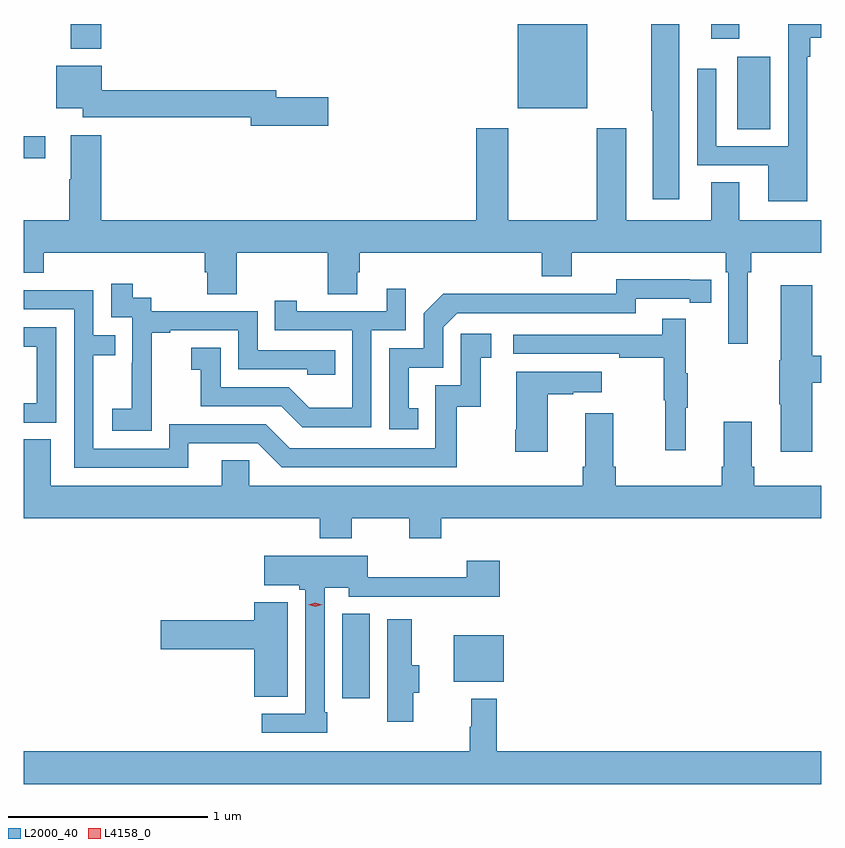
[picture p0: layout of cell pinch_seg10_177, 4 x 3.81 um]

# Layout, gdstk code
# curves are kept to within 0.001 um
import gdstk
lib = gdstk.Library(unit=1e-6, precision=1e-09)
def R(c, l, rs):  # rectangles x0, y0, x1, y1
    for r in rs: c.add(gdstk.rectangle(r[:2], r[2:], *l))
def P(c, l, *ps):  # polygons
    for p in ps: c.add(gdstk.Polygon(p, *l))
L2000_40 = (2000, 40)
L4158_0 = (4158, 0)

pinch_seg10_177 = lib.new_cell('pinch_seg10_177')
R(pinch_seg10_177, L2000_40, [(701.267,1258.122,701.404,1258.547), (701.825,1258.205,702.076,1258.438), (699.669,1260.831,699.778,1260.941), (703.247,1260.976,703.414,1261.339), (702.146,1261.082,702.496,1261.504), (699.905,1261.379,700.058,1261.504), (703.118,1261.431,703.258,1261.504)])
P(pinch_seg10_177, L2000_40, [(703.599,1261.34),(703.615,1261.34),(703.615,1261.436),(703.669,1261.436),(703.669,1261.504),(703.503,1261.504),(703.503,1260.891),(703.143,1260.891),(703.143,1261.279),(703.047,1261.279),(703.047,1260.795),(703.403,1260.795),(703.403,1260.614),(703.599,1260.614)],
  [(702.958,1261.504),(702.817,1261.504),(702.817,1261.069),(702.824,1261.069),(702.824,1260.624),(702.958,1260.624)],
  [(701.197,1261.136),(700.936,1261.136),(700.936,1261.172),(700.06,1261.172),(700.06,1261.294),(699.833,1261.294),(699.833,1261.082),(699.966,1261.082),(699.966,1261.036),(700.808,1261.036),(700.808,1260.994),(701.197,1260.994)],
  [(703.3,1260.26),(703.319,1260.26),(703.319,1260.356),(703.669,1260.356),(703.669,1260.52),(703.258,1260.52),(703.258,1260.71),(703.118,1260.71),(703.118,1260.52),(702.691,1260.52),(702.691,1260.982),(702.544,1260.982),(702.544,1260.52),(702.099,1260.52),(702.099,1260.982),(701.939,1260.982),(701.939,1260.52),(700.058,1260.52),(700.058,1260.946),(699.905,1260.946),(699.905,1260.725),(699.898,1260.725),(699.898,1260.52),(699.669,1260.52),(699.669,1260.257),(699.77,1260.257),(699.77,1260.356),(700.577,1260.356),(700.577,1260.258),(700.589,1260.258),(700.589,1260.148),(700.737,1260.148),(700.737,1260.356),(701.194,1260.356),(701.194,1260.148),(701.341,1260.148),(701.341,1260.258),(701.354,1260.258),(701.354,1260.356),(702.266,1260.356),(702.266,1260.239),(702.418,1260.239),(702.418,1260.356),(703.19,1260.356),(703.19,1260.26),(703.203,1260.26),(703.203,1259.901),(703.3,1259.901)],
  [(701.648,1259.577),(701.599,1259.577),(701.599,1259.781),(701.772,1259.781),(701.772,1259.982),(701.844,1260.054),(702.738,1260.054),(702.738,1260.126),(703.01,1260.126),(703.01,1260.106),(703.118,1260.106),(703.118,1260.222),(702.642,1260.223),(702.642,1260.15),(702.182,1260.15),(702.182,1260.152),(701.774,1260.152),(701.676,1260.054),(701.676,1259.877),(701.502,1259.877),(701.502,1259.472),(701.648,1259.472)],
  [(700.311,1259.671),(700.31,1259.671),(700.31,1259.955),(700.405,1259.955),(700.405,1259.967),(700.746,1259.967),(700.746,1259.772),(701.091,1259.772),(701.091,1259.745),(701.231,1259.745),(701.231,1259.868),(700.842,1259.868),(700.842,1260.063),(700.308,1260.063),(700.308,1260.132),(700.216,1260.132),(700.216,1260.202),(700.107,1260.202),(700.107,1260.033),(700.212,1260.033),(700.212,1259.804),(700.211,1259.804),(700.211,1259.575),(700.113,1259.575),(700.113,1259.465),(700.311,1259.465)],
  [(703.625,1259.704),(703.669,1259.704),(703.669,1259.84),(703.625,1259.84),(703.625,1260.193),(703.466,1260.193),(703.466,1259.817),(703.459,1259.817),(703.459,1259.596),(703.466,1259.596),(703.466,1259.358),(703.625,1259.358)],
  [(701.412,1259.967),(701.586,1259.967),(701.586,1260.175),(701.489,1260.175),(701.489,1260.063),(701.038,1260.063),(701.038,1260.115),(700.927,1260.115),(700.927,1259.967),(701.316,1259.967),(701.316,1259.578),(701.102,1259.578),(700.998,1259.682),(700.656,1259.682),(700.656,1259.881),(700.509,1259.881),(700.509,1259.771),(700.558,1259.771),(700.558,1259.586),(700.961,1259.586),(701.066,1259.481),(701.412,1259.481)],
  [(700.495,1259.4),(700.842,1259.4),(700.962,1259.28),(701.842,1259.28),(701.842,1259.583),(701.96,1259.583),(701.96,1259.829),(702.013,1259.829),(702.013,1259.95),(701.862,1259.95),(701.862,1259.691),(701.733,1259.691),(701.733,1259.376),(701.004,1259.376),(700.884,1259.496),(700.398,1259.496),(700.398,1259.373),(700.017,1259.373),(700.017,1259.842),(700.127,1259.842),(700.127,1259.943),(700.017,1259.943),(700.017,1260.168),(699.669,1260.168),(699.669,1260.072),(699.921,1260.072),(699.921,1259.277),(700.495,1259.277)],
  [(702.989,1259.579),(703,1259.579),(703,1259.753),(702.989,1259.753),(702.989,1260.025),(702.871,1260.025),(702.871,1259.946),(702.123,1259.946),(702.123,1259.85),(702.655,1259.85),(702.655,1259.83),(702.879,1259.83),(702.879,1259.616),(702.886,1259.616),(702.886,1259.367),(702.989,1259.367)],
  [(699.831,1259.982),(699.669,1259.982),(699.669,1259.886),(699.735,1259.886),(699.735,1259.601),(699.669,1259.601),(699.669,1259.505),(699.831,1259.505)],
  [(702.298,1259.647),(702.425,1259.647),(702.425,1259.657),(702.568,1259.657),(702.568,1259.761),(702.14,1259.761),(702.14,1259.47),(702.133,1259.47),(702.133,1259.358),(702.298,1259.358)],
  [(703.669,1259.188),(703.334,1259.188),(703.334,1259.284),(703.321,1259.284),(703.321,1259.509),(703.181,1259.509),(703.181,1259.284),(703.169,1259.284),(703.169,1259.188),(702.638,1259.188),(702.638,1259.284),(702.625,1259.284),(702.625,1259.551),(702.485,1259.551),(702.485,1259.284),(702.473,1259.284),(702.473,1259.188),(700.8,1259.188),(700.8,1259.315),(700.661,1259.315),(700.661,1259.188),(699.805,1259.188),(699.805,1259.42),(699.669,1259.42),(699.669,1259.024),(701.153,1259.024),(701.153,1258.925),(701.313,1258.925),(701.313,1259.024),(701.602,1259.024),(701.602,1258.925),(701.762,1258.925),(701.762,1259.024),(703.669,1259.024)],
  [(701.191,1258.051),(701.178,1258.051),(701.178,1258.676),(701.298,1258.676),(701.298,1258.632),(701.807,1258.632),(701.807,1258.631),(702.056,1258.631),(702.056,1258.813),(701.891,1258.813),(701.891,1258.73),(701.394,1258.73),(701.394,1258.837),(700.875,1258.837),(700.875,1258.688),(701.052,1258.688),(701.052,1258.667),(701.082,1258.667),(701.082,1258.044),(700.863,1258.044),(700.863,1257.948),(701.191,1257.948)],
  [(700.993,1258.603),(700.826,1258.603),(700.826,1258.514),(700.356,1258.514),(700.356,1258.367),(700.826,1258.367),(700.826,1258.129),(700.993,1258.129)],
  [(701.622,1258.15),(701.653,1258.15),(701.653,1258.287),(701.614,1258.287),(701.614,1258.519),(701.492,1258.519),(701.492,1258.005),(701.622,1258.005)],
  [(703.669,1257.856),(702.041,1257.856),(702.041,1258.12),(701.913,1258.12),(701.913,1257.98),(701.905,1257.98),(701.905,1257.856),(699.669,1257.856),(699.669,1257.692),(703.669,1257.692)])
P(pinch_seg10_177, L4158_0, [(701.13,1258.58),(701.095,1258.59),(701.095,1258.59),(701.095,1258.591),(701.13,1258.6),(701.165,1258.59),(701.165,1258.59),(701.165,1258.59)])

lib.write_gds('pinch_seg10_177.gds')
